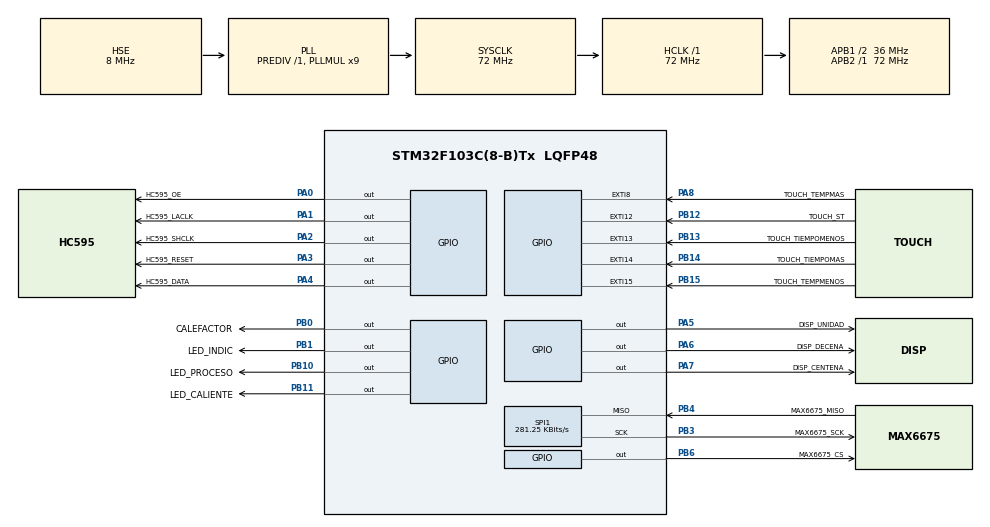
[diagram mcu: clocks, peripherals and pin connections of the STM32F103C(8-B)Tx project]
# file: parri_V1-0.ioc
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Mcu.Family=STM32F1
Mcu.Name=STM32F103C(8-B)Tx
Mcu.Package=LQFP48
NVIC.EXTI15_10_IRQn=true\:1\:0\:true\:false\:true\:true\:true\:true
NVIC.EXTI9_5_IRQn=true\:1\:0\:true\:false\:true\:true\:true\:true
NVIC.PriorityGroup=NVIC_PRIORITYGROUP_4
NVIC.SPI1_IRQn=true\:0\:0\:false\:false\:true\:true\:true\:true
NVIC.TIM1_BRK_IRQn=true\:0\:0\:false\:false\:true\:true\:true\:true
NVIC.TIM1_CC_IRQn=true\:0\:0\:false\:false\:true\:true\:true\:true
NVIC.TIM1_TRG_COM_IRQn=true\:0\:0\:false\:false\:true\:true\:true\:true
NVIC.TIM1_UP_IRQn=true\:0\:0\:false\:false\:true\:true\:true\:true
NVIC.TIM2_IRQn=true\:2\:0\:true\:false\:true\:true\:true\:true
PA0-WKUP.GPIO_Label=HC595_OE
PA0-WKUP.Signal=GPIO_Output
PA1.GPIO_Label=HC595_LACLK
PA1.Signal=GPIO_Output
PA13.Mode=Serial_Wire
PA13.Signal=SYS_JTMS-SWDIO
PA14.Mode=Serial_Wire
PA14.Signal=SYS_JTCK-SWCLK
PA15.GPIO_Label=MAX6675_NSS
PA15.Signal=SPI1_NSS
PA2.GPIO_Label=HC595_SHCLK
PA2.Signal=GPIO_Output
PA3.GPIO_Label=HC595_RESET
PA3.PinState=GPIO_PIN_SET
PA3.Signal=GPIO_Output
PA4.GPIO_Label=HC595_DATA
PA4.Signal=GPIO_Output
PA5.GPIO_Label=DISP_UNIDAD
PA5.Signal=GPIO_Output
PA6.GPIO_Label=DISP_DECENA
PA6.Signal=GPIO_Output
PA7.GPIO_Label=DISP_CENTENA
PA7.GPIO_Speed=GPIO_SPEED_FREQ_MEDIUM
PA7.Signal=GPIO_Output
PA8.GPIO_Label=TOUCH_TEMPMAS
PA8.Signal=GPXTI8
PB0.GPIO_Label=CALEFACTOR
PB0.Signal=GPIO_Output
PB1.GPIO_Label=LED_INDIC
PB1.Signal=GPIO_Output
PB10.GPIO_Label=LED_PROCESO
PB10.Signal=GPIO_Output
PB11.GPIO_Label=LED_CALIENTE
PB11.Signal=GPIO_Output
PB12.GPIO_Label=TOUCH_ST
PB12.Signal=GPXTI12
PB13.GPIO_Label=TOUCH_TIEMPOMENOS
PB13.GPIO_ModeDefaultEXTI=GPIO_MODE_IT_RISING
PB13.Signal=GPXTI13
PB14.GPIO_Label=TOUCH_TIEMPOMAS
PB14.Signal=GPXTI14
PB15.GPIO_Label=TOUCH_TEMPMENOS
PB15.Signal=GPXTI15
PB3.GPIO_Label=MAX6675_SCK
PB3.Mode=RX_Only_Simplex_Unidirect_Master
PB3.Signal=SPI1_SCK
PB4.GPIO_Label=MAX6675_MISO
PB4.Mode=RX_Only_Simplex_Unidirect_Master
PB4.Signal=SPI1_MISO
PB5.GPIO_Label=MAX6675_MOSI
PB5.Signal=SPI1_MOSI
PB6.GPIO_Label=MAX6675_CS
PB6.Signal=GPIO_Output
PD0-OSC_IN.Mode=HSE-External-Oscillator
PD0-OSC_IN.Signal=RCC_OSC_IN
PD1-OSC_OUT.Mode=HSE-External-Oscillator
PD1-OSC_OUT.Signal=RCC_OSC_OUT
ProjectManager.HeapSize=0x200
ProjectManager.StackSize=0x400
ProjectManager.TargetToolchain=STM32CubeIDE
RCC.AHBFreq_Value=72000000
RCC.APB1CLKDivider=RCC_HCLK_DIV2
RCC.APB1Freq_Value=36000000
RCC.APB1TimFreq_Value=72000000
RCC.APB2Freq_Value=72000000
RCC.APB2TimFreq_Value=72000000
RCC.HCLKFreq_Value=72000000
RCC.PLLMUL=RCC_PLL_MUL9
RCC.PLLSourceVirtual=RCC_PLLSOURCE_HSE
RCC.SYSCLKFreq_VALUE=72000000
RCC.SYSCLKSource=RCC_SYSCLKSOURCE_PLLCLK
RCC.USBFreq_Value=72000000
SPI1.BaudRatePrescaler=SPI_BAUDRATEPRESCALER_256
SPI1.CalculateBaudRate=281.25 KBits/s
SPI1.Direction=SPI_DIRECTION_2LINES_RXONLY
SPI1.Mode=SPI_MODE_MASTER
SPI1.VirtualType=VM_MASTER
TIM1.AutoReloadPreload=TIM_AUTORELOAD_PRELOAD_ENABLE
TIM1.Period=5500-1
TIM1.Prescaler=72-1
TIM2.Period=5000-1
TIM2.Prescaler=7200-1
VP_TIM1_VS_ClockSourceINT.Mode=Internal
VP_TIM2_VS_ClockSourceINT.Mode=Internal
board=custom

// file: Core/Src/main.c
/* USER CODE BEGIN Header */
/**
 ******************************************************************************
 * @file           : main.c
 * @brief          : Main program body
 ******************************************************************************
 * @attention
 *
 * Copyright (c) 2025 STMicroelectronics.
 * All rights reserved.
 *
 * This software is licensed under terms that can be found in the LICENSE file
 * in the root directory of this software component.
 * If no LICENSE file comes with this software, it is provided AS-IS.
 *
 ******************************************************************************
 */
/* USER CODE END Header */
#include "main.h"

/* USER CODE BEGIN Includes */
#include <stdbool.h>
#include <stdio.h>
#include <string.h>
#include <stdlib.h>
#include <display_74HC595.h>
#include <MAX6675.h>

/* USER CODE END Includes */

/* USER CODE BEGIN PTD */
typedef enum {
	STAND_BY,
	RAMPA_SUBIDA,
	CONTROL,
	TERMINANDO
} Estados_t;

typedef enum {
	CLEAR,
	TEMP_MAS,
	TEMP_MENOS,
	TIEMPO_MAS,
	TIEMPO_MENOS,
	ST
} Botones_t;

typedef enum
{
	RELAY_OFF,
	RELAY_ON
} relayState_t;
/* USER CODE END PTD */

/* USER CODE BEGIN PD */
#define LED_grados_on() 	HAL_GPIO_WritePin(LED_INDIC_GPIO_Port, LED_INDIC_Pin, GPIO_PIN_SET)
#define LED_minutos_on()	HAL_GPIO_WritePin(LED_INDIC_GPIO_Port, LED_INDIC_Pin, GPIO_PIN_RESET)
#define LED_proceso_on()	HAL_GPIO_WritePin(LED_PROCESO_GPIO_Port, LED_PROCESO_Pin, GPIO_PIN_SET)
#define LED_proceso_off()	HAL_GPIO_WritePin(LED_PROCESO_GPIO_Port, LED_PROCESO_Pin, GPIO_PIN_RESET)
#define LED_CALIENTE_on()	HAL_GPIO_WritePin(LED_CALIENTE_GPIO_Port, LED_CALIENTE_Pin, GPIO_PIN_SET)
#define LED_CALIENTE_off()	HAL_GPIO_WritePin(LED_CALIENTE_GPIO_Port, LED_CALIENTE_Pin, GPIO_PIN_RESET)
#define CALEFACTOR_on()		HAL_GPIO_WritePin(CALEFACTOR_GPIO_Port, CALEFACTOR_Pin, GPIO_PIN_SET)
#define CALEFACTOR_off()	HAL_GPIO_WritePin(CALEFACTOR_GPIO_Port, CALEFACTOR_Pin, GPIO_PIN_RESET)
#define DISPLAY_on()		HAL_GPIO_WritePin(HC595_OE_GPIO_Port, HC595_OE_Pin, GPIO_PIN_RESET)
#define DISPLAY_off()		HAL_GPIO_WritePin(HC595_OE_GPIO_Port, HC595_OE_Pin, GPIO_PIN_SET)
#define DISPLAY_toggle()	HAL_GPIO_TogglePin(HC595_OE_GPIO_Port, HC595_OE_Pin)

#define MAX_TEMP 		400	// °C
#define MIN_TEMP 		80
#define MAX_TIEMPO 		900	// minutos
#define MIN_TIEMPO		0
#define TIEMPO_DEFAULT	40	// minutos

#define NUM_MEDICIONES 15

//#define KP 4.0f

/* USER CODE END PD */

SPI_HandleTypeDef hspi1;

TIM_HandleTypeDef htim1;
TIM_HandleTypeDef htim2;

/* USER CODE BEGIN PV */

// Variables de control de temperatura
float temperatura_leida = 0;
float temperatura_leida_antes = 0;
float temperatura_filtrada = 0;
int setpoint = 80;
float alpha;
float temperature_buffer[NUM_MEDICIONES] = {0};
uint8_t buffer_index = 0;
float sum = 0;
int cont_duty_cycle = 0;

bool leer_temp = false;
uint16_t control_timer_counter = 0;

int tiempo_coccion = TIEMPO_DEFAULT;
int tiempo_coccion_segs;
int tiempo_on_SSR = 0;

float integral = 0;
float previousError = 0;
uint32_t relayOnTimeMs = 0; // Duración que el relé debe estar encendido

uint8_t relayState = 0; // 1 = encendido, 0 = apagado
uint32_t relayTimerCounter = 0; // En ms

// Varibles de estados de control
Estados_t estado_anterior = STAND_BY;
Estados_t estado = STAND_BY;
Estados_t estado_siguiente = STAND_BY;

// Variables de control de botones
Botones_t boton = CLEAR;
uint32_t tiempo_ultima_interrupcion = 0;
int cont_toques_temp = 0;
int cont_toques_tiempo = 0;

// Variables de control de display
int tiempo_mostrar_set = 0;
int cont_parpadeo_display = 0;
int cont_mostrar_temp = 0;

/* USER CODE END PV */

void SystemClock_Config(void);
static void MX_GPIO_Init(void);
static void MX_SPI1_Init(void);
static void MX_TIM1_Init(void);
static void MX_TIM2_Init(void);
/* USER CODE BEGIN PFP */

void config_HC595();
//void Send_Debug_Info(float averageTemp, float error, float output, uint32_t relayOnTimeMs, uint8_t relayState);
//void UART_Receive_And_Parse_Command(void);

/* USER CODE END PFP */

int main(void)
{

	/* MCU Configuration--------------------------------------------------------*/

	/* Reset of all peripherals, Initializes the Flash interface and the Systick. */
	HAL_Init();

	/* Configure the system clock */
	SystemClock_Config();

	/* Initialize all configured peripherals */
	MX_GPIO_Init();
	MX_SPI1_Init();
	MX_TIM1_Init();
	MX_TIM2_Init();
	/* USER CODE BEGIN 2 */

	MAX6675_Init(&hspi1, MAX6675_CS_GPIO_Port, MAX6675_CS_Pin);	// Iniciliza el MAX6675 (termocupla)
	HAL_TIM_Base_Start_IT(&htim2);

	config_HC595();	// Configura los pines del 74HC595 para poder utilizar la libreria
	Display_Init();
	DISPLAY_off();

	for(int i = 0; i < NUM_MEDICIONES; i++)
	{
		HAL_Delay(200);
		if(i % 2 == 0)
		{
			LED_CALIENTE_on();
			LED_grados_on();
			LED_proceso_on();
		} else
		{
				LED_CALIENTE_off();
				LED_minutos_on();
				LED_proceso_off();
		}

		temperatura_leida = MAX6675_ReadTemperature();
		sum -= temperature_buffer[i];				// Restar el valor mas antiguo de la suma
		temperature_buffer[i] = temperatura_leida;	// Almacenar el nuevo valor en el buffer
		sum += temperatura_leida;								// Sumar el nuevo valor a la sumai
		temperatura_filtrada = sum / NUM_MEDICIONES;			// Guarda el promedio
	}

	LED_CALIENTE_off();
	LED_minutos_on();
	LED_proceso_off();
	CALEFACTOR_off();

	HAL_TIM_Base_Start_IT(&htim1);
	DISPLAY_on();

	LED_grados_on();

	tiempo_coccion_segs = tiempo_coccion * 120;
	temperatura_leida_antes = temperatura_leida;

	/* USER CODE END 2 */

	/* Infinite loop */
	/* USER CODE BEGIN WHILE */
	while (1)
	{

		if(leer_temp)
		{
			leer_temp = false;
			temperatura_leida = MAX6675_ReadTemperature();

			if(temperatura_leida != -1) {
				// Promedio de las ultimas 10 mediciones (buffer anillo)
				sum -= temperature_buffer[buffer_index];				// Restar el valor mas antiguo de la suma
				temperature_buffer[buffer_index] = temperatura_leida;	// Almacenar el nuevo valor en el buffer
				sum += temperatura_leida;								// Sumar el nuevo valor a la suma
				buffer_index = (buffer_index + 1) % NUM_MEDICIONES;	// Avanzar el índice en anillo
				temperatura_filtrada = sum / NUM_MEDICIONES;			// Guarda el promedio
			}

			if(tiempo_mostrar_set > 0)
			{
				tiempo_mostrar_set--;
				DISPLAY_toggle();
			}
			else if(cont_mostrar_temp > 30)
			{
				DISPLAY_on();
				Display_Update(tiempo_coccion);
				LED_minutos_on();
			}
			else
			{
				DISPLAY_on();
				Display_Update(temperatura_filtrada);
				LED_grados_on();
				cont_toques_temp = 0;
				cont_toques_tiempo = 0;
			}
		}

		if(boton != CLEAR)
		{
			switch(boton)
			{
			case CLEAR:
				break;

			case TEMP_MAS:
				if(HAL_GPIO_ReadPin(TOUCH_TEMPMAS_GPIO_Port, TOUCH_TEMPMAS_Pin)) {
					cont_toques_temp++;
					tiempo_mostrar_set = 10;
					LED_grados_on();

					if(cont_toques_temp > 1) {
						if(setpoint >= MAX_TEMP)
							setpoint = MAX_TEMP;
						else
							setpoint += 10;
					}
					Display_Update(setpoint);
					boton = CLEAR;
				}

				break;

			case TEMP_MENOS:
				if(HAL_GPIO_ReadPin(TOUCH_TEMPMENOS_GPIO_Port, TOUCH_TEMPMENOS_Pin)) {
					cont_toques_temp++;
					tiempo_mostrar_set = 10;

					LED_grados_on();
					if(cont_toques_temp > 1) {
						if(setpoint <= MIN_TEMP)
							setpoint = MIN_TEMP;
						else
							setpoint -= 10;
					}
					Display_Update(setpoint);
					boton = CLEAR;
				}
				break;

			case TIEMPO_MAS:
				if(HAL_GPIO_ReadPin(TOUCH_TIEMPOMAS_GPIO_Port, TOUCH_TIEMPOMAS_Pin)) {
					cont_toques_tiempo++;
					tiempo_mostrar_set = 10;
					LED_minutos_on();

					if(cont_toques_tiempo > 1) {
						if(tiempo_coccion >= MAX_TIEMPO)
							tiempo_coccion = MAX_TIEMPO;
						else
							tiempo_coccion += 5;

						tiempo_coccion_segs = tiempo_coccion * 120;
					}
					Display_Update(tiempo_coccion);
					boton = CLEAR;
				}
				break;

			case TIEMPO_MENOS:
				if(HAL_GPIO_ReadPin(TOUCH_TIEMPOMENOS_GPIO_Port, TOUCH_TIEMPOMENOS_Pin)) {
					cont_toques_tiempo++;
					tiempo_mostrar_set = 10;
					LED_minutos_on();

					if(cont_toques_tiempo > 1) {
						if(tiempo_coccion <= MIN_TIEMPO)
							tiempo_coccion = MIN_TIEMPO;
						else
							tiempo_coccion -= 5;

						tiempo_coccion_segs = tiempo_coccion * 120;
					}
					Display_Update(tiempo_coccion);
					boton = CLEAR;
				}
				break;

			case ST:
				if(HAL_GPIO_ReadPin(TOUCH_ST_GPIO_Port, TOUCH_ST_Pin)) {
					tiempo_mostrar_set = 0;
					if(estado == STAND_BY || estado == TERMINANDO) {
						estado = RAMPA_SUBIDA;
						LED_proceso_on();
						CALEFACTOR_on();
					}
					else {
						estado = TERMINANDO;
						LED_proceso_off();
						CALEFACTOR_off();
						LED_proceso_off();
					}
					Display_Update(temperatura_filtrada);
					LED_grados_on();
					boton = CLEAR;
				}
				break;
			}
		}

		switch(estado)
		{
		case STAND_BY:
			if(temperatura_filtrada > 50)
			{
				LED_CALIENTE_on();
			} else if(temperatura_filtrada < 40)
			{
				LED_CALIENTE_off();
			}
			break;

		case RAMPA_SUBIDA:

			if(temperatura_filtrada > 0.75 * setpoint)
			{
				CALEFACTOR_off();
				estado = CONTROL;
			}
			if(temperatura_filtrada > 50)
			{
				LED_CALIENTE_on();
			}
			break;

		case CONTROL:
			if(temperatura_filtrada > 50)
			{
				LED_CALIENTE_on();
			}

			if(tiempo_coccion == 0)
			{
				estado = TERMINANDO;
				LED_proceso_off();
			}

			if (relayState == RELAY_ON && relayTimerCounter >= relayOnTimeMs)
			{
				CALEFACTOR_off();
				relayState = RELAY_OFF;
			}

			if (control_timer_counter >= 5000)
			{
				float Kp = 100.0;
				float Ki = 0.0;
				float Kd = 0.0;

				control_timer_counter = 0; // Reset

				float error = setpoint - temperatura_filtrada;	// Calcular error
				if(error > -3.0 && error < 3.0)
				{// Integrar error solo si está dentro de ±3°C
					integral += error * 5.0; // intervalo es 5s
					if(integral > 1000)
						integral = 1000;
					else if(integral < -1000)
						integral = -1000;
				}
				float derivative = (error - previousError) / 5.0; // Derivada (diferencia de error entre mediciones)

				float output = Kp * error + Ki * integral + Kd * derivative;	// Salida PID
				previousError = error;

				if(output <= 0)
					output = 0;
				else if(output > 0 && output < 500)		// Asegurar un mínimo tiempo de encendido si corresponde
					output = 500;
				else if(output > 5000)	// Saturar la salida
					output = 5000;

				relayOnTimeMs = (uint32_t)output;	// Actualizar nuevo tiempo de encendido

				if(relayOnTimeMs > 0)		// Encender calefactor si corresponde
				{
					CALEFACTOR_on();
					relayState = RELAY_ON;
					relayTimerCounter = 0; // Reset de tiempo de encendido
				}
				else
				{
					CALEFACTOR_off();
					relayState = RELAY_OFF;
				}
			}
			/*
	  			int error = setpoint - temperatura_filtrada;
	  			int duty_cycle = error * KP;
			 */

			//Send_Debug_Info(temperatura_filtrada, error, output, relayOnTimeMs, relayState);

			/*
	  			else if(cont_duty_cycle == 0) {
					if(duty_cycle < 0)
						tiempo_on_SSR = 0;
					else if(duty_cycle < 4)		//  1°C * 4.0f = 4
						tiempo_on_SSR = 1;
					else if(duty_cycle < 8)		//  2°C * 4.0f = 8
						tiempo_on_SSR = 3;
					else if(duty_cycle < 20)	//  5°C * 4.0f = 20
						tiempo_on_SSR = 3;
					else if(duty_cycle < 40)	// 10°C * 4.0f = 40
						tiempo_on_SSR = 5;
					else if(duty_cycle < 60)	// 15°C * 4.0f = 60
						tiempo_on_SSR = 7;
					else if(duty_cycle < 80)	// 20°C * 4.0f = 80
						tiempo_on_SSR = 9;
					else if (duty_cycle < 100)	// 25°C * 4.0f = 100
						tiempo_on_SSR = 11;
					else
						tiempo_on_SSR = 13;

					CALEFACTOR_on();
	  			}

	  			if(tiempo_on_SSR == cont_duty_cycle)
	  				CALEFACTOR_off();

	  			cont_duty_cycle = (cont_duty_cycle + 1) % NUM_MEDICIONES;
			 */

			break;

			case TERMINANDO:
				tiempo_coccion = TIEMPO_DEFAULT;
				tiempo_coccion_segs = tiempo_coccion * 120;
				if(temperatura_filtrada < 40)
				{
					LED_CALIENTE_off();
					estado = STAND_BY;
				}
				break;

		}
	}
	//UART_Receive_And_Parse_Command();

	/* USER CODE END WHILE */

}

void SystemClock_Config(void)
{
	RCC_OscInitTypeDef RCC_OscInitStruct = {0};
	RCC_ClkInitTypeDef RCC_ClkInitStruct = {0};

	/** Initializes the RCC Oscillators according to the specified parameters
	 * in the RCC_OscInitTypeDef structure.
	 */
	RCC_OscInitStruct.OscillatorType = RCC_OSCILLATORTYPE_HSE;
	RCC_OscInitStruct.HSEState = RCC_HSE_ON;
	RCC_OscInitStruct.HSEPredivValue = RCC_HSE_PREDIV_DIV1;
	RCC_OscInitStruct.HSIState = RCC_HSI_ON;
	RCC_OscInitStruct.PLL.PLLState = RCC_PLL_ON;
	RCC_OscInitStruct.PLL.PLLSource = RCC_PLLSOURCE_HSE;
	RCC_OscInitStruct.PLL.PLLMUL = RCC_PLL_MUL9;
	if (HAL_RCC_OscConfig(&RCC_OscInitStruct) != HAL_OK)
	{
		Error_Handler();
	}

	/** Initializes the CPU, AHB and APB buses clocks
	 */
	RCC_ClkInitStruct.ClockType = RCC_CLOCKTYPE_HCLK|RCC_CLOCKTYPE_SYSCLK
			|RCC_CLOCKTYPE_PCLK1|RCC_CLOCKTYPE_PCLK2;
	RCC_ClkInitStruct.SYSCLKSource = RCC_SYSCLKSOURCE_PLLCLK;
	RCC_ClkInitStruct.AHBCLKDivider = RCC_SYSCLK_DIV1;
	RCC_ClkInitStruct.APB1CLKDivider = RCC_HCLK_DIV2;
	RCC_ClkInitStruct.APB2CLKDivider = RCC_HCLK_DIV1;

	if (HAL_RCC_ClockConfig(&RCC_ClkInitStruct, FLASH_LATENCY_2) != HAL_OK)
	{
		Error_Handler();
	}
}

static void MX_SPI1_Init(void)
{

	/* SPI1 parameter configuration*/
	hspi1.Instance = SPI1;
	hspi1.Init.Mode = SPI_MODE_MASTER;
	hspi1.Init.Direction = SPI_DIRECTION_2LINES_RXONLY;
	hspi1.Init.DataSize = SPI_DATASIZE_8BIT;
	hspi1.Init.CLKPolarity = SPI_POLARITY_LOW;
	hspi1.Init.CLKPhase = SPI_PHASE_1EDGE;
	hspi1.Init.NSS = SPI_NSS_SOFT;
	hspi1.Init.BaudRatePrescaler = SPI_BAUDRATEPRESCALER_256;
	hspi1.Init.FirstBit = SPI_FIRSTBIT_MSB;
	hspi1.Init.TIMode = SPI_TIMODE_DISABLE;
	hspi1.Init.CRCCalculation = SPI_CRCCALCULATION_DISABLE;
	hspi1.Init.CRCPolynomial = 10;
	if (HAL_SPI_Init(&hspi1) != HAL_OK)
	{
		Error_Handler();
	}

}

static void MX_TIM1_Init(void)
{

	TIM_ClockConfigTypeDef sClockSourceConfig = {0};
	TIM_MasterConfigTypeDef sMasterConfig = {0};

	htim1.Instance = TIM1;
	htim1.Init.Prescaler = 72-1;
	htim1.Init.CounterMode = TIM_COUNTERMODE_UP;
	htim1.Init.Period = 5500-1;
	htim1.Init.ClockDivision = TIM_CLOCKDIVISION_DIV1;
	htim1.Init.RepetitionCounter = 0;
	htim1.Init.AutoReloadPreload = TIM_AUTORELOAD_PRELOAD_ENABLE;
	if (HAL_TIM_Base_Init(&htim1) != HAL_OK)
	{
		Error_Handler();
	}
	sClockSourceConfig.ClockSource = TIM_CLOCKSOURCE_INTERNAL;
	if (HAL_TIM_ConfigClockSource(&htim1, &sClockSourceConfig) != HAL_OK)
	{
		Error_Handler();
	}
	sMasterConfig.MasterOutputTrigger = TIM_TRGO_RESET;
	sMasterConfig.MasterSlaveMode = TIM_MASTERSLAVEMODE_DISABLE;
	if (HAL_TIMEx_MasterConfigSynchronization(&htim1, &sMasterConfig) != HAL_OK)
	{
		Error_Handler();
	}

}

static void MX_TIM2_Init(void)
{

	TIM_ClockConfigTypeDef sClockSourceConfig = {0};
	TIM_MasterConfigTypeDef sMasterConfig = {0};

	htim2.Instance = TIM2;
	htim2.Init.Prescaler = 7200-1;
	htim2.Init.CounterMode = TIM_COUNTERMODE_UP;
	htim2.Init.Period = 5000-1;
	htim2.Init.ClockDivision = TIM_CLOCKDIVISION_DIV1;
	htim2.Init.AutoReloadPreload = TIM_AUTORELOAD_PRELOAD_DISABLE;
	if (HAL_TIM_Base_Init(&htim2) != HAL_OK)
	{
		Error_Handler();
	}
	sClockSourceConfig.ClockSource = TIM_CLOCKSOURCE_INTERNAL;
	if (HAL_TIM_ConfigClockSource(&htim2, &sClockSourceConfig) != HAL_OK)
	{
		Error_Handler();
	}
	sMasterConfig.MasterOutputTrigger = TIM_TRGO_RESET;
	sMasterConfig.MasterSlaveMode = TIM_MASTERSLAVEMODE_DISABLE;
	if (HAL_TIMEx_MasterConfigSynchronization(&htim2, &sMasterConfig) != HAL_OK)
	{
		Error_Handler();
	}

}

static void MX_GPIO_Init(void)
{
	GPIO_InitTypeDef GPIO_InitStruct = {0};

	/* GPIO Ports Clock Enable */
	__HAL_RCC_GPIOD_CLK_ENABLE();
	__HAL_RCC_GPIOA_CLK_ENABLE();
	__HAL_RCC_GPIOB_CLK_ENABLE();

	/*Configure GPIO pin Output Level */
	HAL_GPIO_WritePin(GPIOA, HC595_OE_Pin|HC595_LACLK_Pin|HC595_SHCLK_Pin|HC595_DATA_Pin
			|DISP_UNIDAD_Pin|DISP_DECENA_Pin|DISP_CENTENA_Pin, GPIO_PIN_RESET);

	/*Configure GPIO pin Output Level */
	HAL_GPIO_WritePin(HC595_RESET_GPIO_Port, HC595_RESET_Pin, GPIO_PIN_SET);

	/*Configure GPIO pin Output Level */
	HAL_GPIO_WritePin(GPIOB, CALEFACTOR_Pin|LED_INDIC_Pin|LED_PROCESO_Pin|LED_CALIENTE_Pin
			|MAX6675_CS_Pin, GPIO_PIN_RESET);

	/*Configure GPIO pins : HC595_OE_Pin HC595_LACLK_Pin HC595_SHCLK_Pin HC595_RESET_Pin
                           HC595_DATA_Pin DISP_UNIDAD_Pin DISP_DECENA_Pin */
	GPIO_InitStruct.Pin = HC595_OE_Pin|HC595_LACLK_Pin|HC595_SHCLK_Pin|HC595_RESET_Pin
			|HC595_DATA_Pin|DISP_UNIDAD_Pin|DISP_DECENA_Pin;
	GPIO_InitStruct.Mode = GPIO_MODE_OUTPUT_PP;
	GPIO_InitStruct.Pull = GPIO_NOPULL;
	GPIO_InitStruct.Speed = GPIO_SPEED_FREQ_LOW;
	HAL_GPIO_Init(GPIOA, &GPIO_InitStruct);

	/*Configure GPIO pin : DISP_CENTENA_Pin */
	GPIO_InitStruct.Pin = DISP_CENTENA_Pin;
	GPIO_InitStruct.Mode = GPIO_MODE_OUTPUT_PP;
	GPIO_InitStruct.Pull = GPIO_NOPULL;
	GPIO_InitStruct.Speed = GPIO_SPEED_FREQ_MEDIUM;
	HAL_GPIO_Init(DISP_CENTENA_GPIO_Port, &GPIO_InitStruct);

	/*Configure GPIO pins : CALEFACTOR_Pin LED_INDIC_Pin LED_PROCESO_Pin LED_CALIENTE_Pin
                           MAX6675_CS_Pin */
	GPIO_InitStruct.Pin = CALEFACTOR_Pin|LED_INDIC_Pin|LED_PROCESO_Pin|LED_CALIENTE_Pin
			|MAX6675_CS_Pin;
	GPIO_InitStruct.Mode = GPIO_MODE_OUTPUT_PP;
	GPIO_InitStruct.Pull = GPIO_NOPULL;
	GPIO_InitStruct.Speed = GPIO_SPEED_FREQ_LOW;
	HAL_GPIO_Init(GPIOB, &GPIO_InitStruct);

	/*Configure GPIO pins : TOUCH_ST_Pin TOUCH_TIEMPOMENOS_Pin TOUCH_TIEMPOMAS_Pin TOUCH_TEMPMENOS_Pin */
	GPIO_InitStruct.Pin = TOUCH_ST_Pin|TOUCH_TIEMPOMENOS_Pin|TOUCH_TIEMPOMAS_Pin|TOUCH_TEMPMENOS_Pin;
	GPIO_InitStruct.Mode = GPIO_MODE_IT_RISING;
	GPIO_InitStruct.Pull = GPIO_NOPULL;
	HAL_GPIO_Init(GPIOB, &GPIO_InitStruct);

	/*Configure GPIO pin : TOUCH_TEMPMAS_Pin */
	GPIO_InitStruct.Pin = TOUCH_TEMPMAS_Pin;
	GPIO_InitStruct.Mode = GPIO_MODE_IT_RISING;
	GPIO_InitStruct.Pull = GPIO_NOPULL;
	HAL_GPIO_Init(TOUCH_TEMPMAS_GPIO_Port, &GPIO_InitStruct);

	/* EXTI interrupt init*/
	HAL_NVIC_SetPriority(EXTI9_5_IRQn, 1, 0);
	HAL_NVIC_EnableIRQ(EXTI9_5_IRQn);

	HAL_NVIC_SetPriority(EXTI15_10_IRQn, 1, 0);
	HAL_NVIC_EnableIRQ(EXTI15_10_IRQn);

}

/* USER CODE BEGIN 4 */

/*
 * Interrupciones por desbordamiento de timers 1 y 2
 */
void HAL_TIM_PeriodElapsedCallback(TIM_HandleTypeDef *htim) {
	if (htim->Instance == TIM1)			// Interrupcion cada 5,5ms aprox
	{
		Display_UpdateDigit();
	}
	else if(htim->Instance == TIM2)		// Interrupcion cada 0,5s aprox
	{
		leer_temp = true;
		control_timer_counter += 500;
		relayTimerCounter += 500;
		cont_mostrar_temp = (cont_mostrar_temp + 1) % 40;

		if(estado == RAMPA_SUBIDA || estado == CONTROL)
		{
			tiempo_coccion_segs--;
			tiempo_coccion = tiempo_coccion_segs / 120;
		}
	}
}

/*
 * Interrupciones externas
 */
void HAL_GPIO_EXTI_Callback(uint16_t GPIO_Pin) {

	switch(GPIO_Pin) {
	case TOUCH_TEMPMAS_Pin: 	// TOUCH_TEMPMAS
		boton = TEMP_MAS;
		break;

	case TOUCH_TEMPMENOS_Pin: 	// TOUCH_TEMPMENOS
		boton= TEMP_MENOS;
		break;

	case TOUCH_TIEMPOMAS_Pin: 	// TOUCH_TIEMPOMAS
		boton = TIEMPO_MAS;
		break;

	case TOUCH_TIEMPOMENOS_Pin: // TOUCH_TIEMPOMENOS
		boton = TIEMPO_MENOS;
		break;

	case TOUCH_ST_Pin: 			// TOUCH_ST
		boton = ST;
		break;

	}
}

void config_HC595() {
	Display_PIN_EN_Assigment(HC595_OE_GPIO_Port, HC595_OE_Pin);				// Asignacion de pines para libreria HC595
	Display_PIN_LACLK_Assigment(HC595_LACLK_GPIO_Port, HC595_LACLK_Pin);
	Display_PIN_SHCLK_Assigment(HC595_SHCLK_GPIO_Port, HC595_SHCLK_Pin);
	Display_PIN_RESET_Assigment(HC595_RESET_GPIO_Port, HC595_RESET_Pin);
	Display_PIN_DATA_Assigment(HC595_DATA_GPIO_Port, HC595_DATA_Pin);
	Display_PIN_UNIDAD_Assigment(DISP_UNIDAD_GPIO_Port, DISP_UNIDAD_Pin);
	Display_PIN_DECENA_Assigment(DISP_DECENA_GPIO_Port, DISP_DECENA_Pin);
	Display_PIN_CENTENA_Assigment(DISP_CENTENA_GPIO_Port, DISP_CENTENA_Pin);
}

/*
void Send_Debug_Info(float averageTemp, float error, float output, uint32_t relayOnTimeMs, uint8_t relayState) {
    char buffer[128];
    snprintf(buffer, sizeof(buffer),
        "T=%.1f°C | Error=%.1f | PID=%.1f | RelayON=%ums | Estado=%s\r\n",
        averageTemp, error, output, (unsigned int)relayOnTimeMs, relayState ? "ON" : "OFF"
    );
    HAL_UART_Transmit(&huart1, (uint8_t*)buffer, strlen(buffer), HAL_MAX_DELAY);
}

void UART_Receive_And_Parse_Command(void) {
    char rxBuffer[64];
    uint8_t rxChar;
    uint8_t idx = 0;

    // Leer hasta Enter o hasta llenar el buffer
    while (HAL_UART_Receive(&huart1, &rxChar, 1, HAL_MAX_DELAY) == HAL_OK && idx < sizeof(rxBuffer) - 1) {
        if (rxChar == '\r' || rxChar == '\n') break; // Fin de línea
        rxBuffer[idx++] = rxChar;
    }
    rxBuffer[idx] = '\0';

    // Parseo básico
    if (strncmp(rxBuffer, "KP=", 3) == 0) {
        Kp = atof(&rxBuffer[3]);
    } else if (strncmp(rxBuffer, "KI=", 3) == 0) {
        Ki = atof(&rxBuffer[3]);
    } else if (strncmp(rxBuffer, "KD=", 3) == 0) {
        Kd = atof(&rxBuffer[3]);
    } else if (strncmp(rxBuffer, "SP=", 3) == 0) {
        setpoint = atof(&rxBuffer[3]);
    }

    // Confirmación
    char msg[64];
    snprintf(msg, sizeof(msg), "Parametros PID: KP=%.2f KI=%.2f KD=%.2f SP=%d\r\n", Kp, Ki, Kd, setpoint);
    HAL_UART_Transmit(&huart1, (uint8_t*)msg, strlen(msg), HAL_MAX_DELAY);
}
 */

/* USER CODE END 4 */

void Error_Handler(void)
{
	__disable_irq();
	while (1)
	{
	}
}
